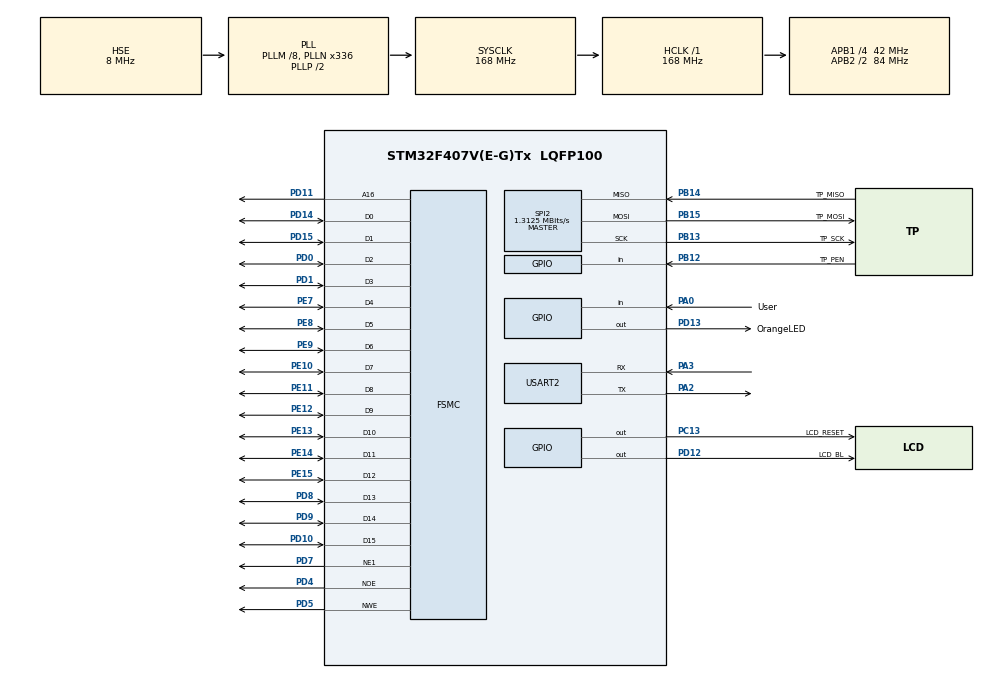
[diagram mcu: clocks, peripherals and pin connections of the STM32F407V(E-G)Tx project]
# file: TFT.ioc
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FSMC.AddressSetupTime1=15
FSMC.BusTurnAroundDuration1=15
FSMC.DataSetupTime1=30
FSMC.ExtendedAddressSetupTime1=5
FSMC.ExtendedBusTurnAroundDuration1=5
FSMC.ExtendedDataSetupTime1=5
FSMC.ExtendedMode1=FSMC_EXTENDED_MODE_ENABLE
Mcu.Family=STM32F4
Mcu.Name=STM32F407V(E-G)Tx
Mcu.Package=LQFP100
NVIC.PriorityGroup=NVIC_PRIORITYGROUP_4
NVIC.USART2_IRQn=true\:0\:0\:false\:false\:true\:true
PA0-WKUP.GPIO_Label=User
PA0-WKUP.Signal=GPIO_Input
PA2.Mode=Asynchronous
PA2.Signal=USART2_TX
PA3.Mode=Asynchronous
PA3.Signal=USART2_RX
PB12.GPIO_Label=TP_PEN
PB12.Signal=GPIO_Input
PB13.GPIO_Label=TP_SCK
PB13.GPIO_Speed=GPIO_SPEED_FREQ_HIGH
PB13.Mode=Full_Duplex_Master
PB13.Signal=SPI2_SCK
PB14.GPIO_Label=TP_MISO
PB14.GPIO_Speed=GPIO_SPEED_FREQ_HIGH
PB14.Mode=Full_Duplex_Master
PB14.Signal=SPI2_MISO
PB15.GPIO_Label=TP_MOSI
PB15.GPIO_Speed=GPIO_SPEED_FREQ_HIGH
PB15.Mode=Full_Duplex_Master
PB15.Signal=SPI2_MOSI
PC13-ANTI_TAMP.GPIO_Label=LCD_RESET
PC13-ANTI_TAMP.Signal=GPIO_Output
PC14-OSC32_IN.Mode=LSE-External-Oscillator
PC14-OSC32_IN.Signal=RCC_OSC32_IN
PC15-OSC32_OUT.Mode=LSE-External-Oscillator
PC15-OSC32_OUT.Signal=RCC_OSC32_OUT
PD0.GPIO_Speed_High_Default=GPIO_SPEED_FREQ_HIGH
PD0.Mode=16b-d1
PD0.Signal=FSMC_D2
PD1.GPIO_Speed_High_Default=GPIO_SPEED_FREQ_HIGH
PD1.Mode=16b-d1
PD1.Signal=FSMC_D3
PD10.GPIO_Speed_High_Default=GPIO_SPEED_FREQ_HIGH
PD10.Mode=16b-d1
PD10.Signal=FSMC_D15
PD11.GPIO_Speed_High_Default=GPIO_SPEED_FREQ_HIGH
PD11.Mode=A16_1
PD11.Signal=FSMC_A16
PD12.GPIO_Label=LCD_BL
PD12.Signal=GPIO_Output
PD13.GPIO_Label=OrangeLED
PD13.Signal=GPIO_Output
PD14.GPIO_Speed_High_Default=GPIO_SPEED_FREQ_HIGH
PD14.Mode=16b-d1
PD14.Signal=FSMC_D0
PD15.GPIO_Speed_High_Default=GPIO_SPEED_FREQ_HIGH
PD15.Mode=16b-d1
PD15.Signal=FSMC_D1
PD4.GPIO_Speed_High_Default=GPIO_SPEED_FREQ_HIGH
PD4.Mode=Lcd1
PD4.Signal=FSMC_NOE
PD5.GPIO_Speed_High_Default=GPIO_SPEED_FREQ_HIGH
PD5.Mode=Lcd1
PD5.Signal=FSMC_NWE
PD7.GPIO_Speed_High_Default=GPIO_SPEED_FREQ_HIGH
PD7.Mode=NorPsramChipSelect1_1
PD7.Signal=FSMC_NE1
PD8.GPIO_Speed_High_Default=GPIO_SPEED_FREQ_HIGH
PD8.Mode=16b-d1
PD8.Signal=FSMC_D13
PD9.GPIO_Speed_High_Default=GPIO_SPEED_FREQ_HIGH
PD9.Mode=16b-d1
PD9.Signal=FSMC_D14
PE10.GPIO_Speed_High_Default=GPIO_SPEED_FREQ_HIGH
PE10.Mode=16b-d1
PE10.Signal=FSMC_D7
PE11.GPIO_Speed_High_Default=GPIO_SPEED_FREQ_HIGH
PE11.Mode=16b-d1
PE11.Signal=FSMC_D8
PE12.GPIO_Speed_High_Default=GPIO_SPEED_FREQ_HIGH
PE12.Mode=16b-d1
PE12.Signal=FSMC_D9
PE13.GPIO_Speed_High_Default=GPIO_SPEED_FREQ_HIGH
PE13.Mode=16b-d1
PE13.Signal=FSMC_D10
PE14.GPIO_Speed_High_Default=GPIO_SPEED_FREQ_HIGH
PE14.Mode=16b-d1
PE14.Signal=FSMC_D11
PE15.GPIO_Speed_High_Default=GPIO_SPEED_FREQ_HIGH
PE15.Mode=16b-d1
PE15.Signal=FSMC_D12
PE7.GPIO_Speed_High_Default=GPIO_SPEED_FREQ_HIGH
PE7.Mode=16b-d1
PE7.Signal=FSMC_D4
PE8.GPIO_Speed_High_Default=GPIO_SPEED_FREQ_HIGH
PE8.Mode=16b-d1
PE8.Signal=FSMC_D5
PE9.GPIO_Speed_High_Default=GPIO_SPEED_FREQ_HIGH
PE9.Mode=16b-d1
PE9.Signal=FSMC_D6
PH0-OSC_IN.Mode=HSE-External-Oscillator
PH0-OSC_IN.Signal=RCC_OSC_IN
PH1-OSC_OUT.Mode=HSE-External-Oscillator
PH1-OSC_OUT.Signal=RCC_OSC_OUT
ProjectManager.HeapSize=0x400
ProjectManager.StackSize=0x200
ProjectManager.TargetToolchain=SW4STM32
RCC.48MHZClocksFreq_Value=48000000
RCC.AHBFreq_Value=168000000
RCC.APB1CLKDivider=RCC_HCLK_DIV4
RCC.APB1Freq_Value=42000000
RCC.APB1TimFreq_Value=84000000
RCC.APB2CLKDivider=RCC_HCLK_DIV2
RCC.APB2Freq_Value=84000000
RCC.APB2TimFreq_Value=168000000
RCC.CortexFreq_Value=168000000
RCC.HCLKFreq_Value=168000000
RCC.HSE_VALUE=8000000
RCC.HSI_VALUE=16000000
RCC.PLLM=8
RCC.PLLN=336
RCC.PLLQ=7
RCC.PLLSourceVirtual=RCC_PLLSOURCE_HSE
RCC.RCC_RTC_Clock_Source=RCC_RTCCLKSOURCE_LSE
RCC.RCC_RTC_Clock_SourceVirtual=RCC_RTCCLKSOURCE_LSE
RCC.SYSCLKFreq_VALUE=168000000
RCC.SYSCLKSource=RCC_SYSCLKSOURCE_PLLCLK
RCC.VCOOutputFreq_Value=336000000
SPI2.BaudRatePrescaler=SPI_BAUDRATEPRESCALER_32
SPI2.CLKPhase=SPI_PHASE_2EDGE
SPI2.CLKPolarity=SPI_POLARITY_HIGH
SPI2.CalculateBaudRate=1.3125 MBits/s
SPI2.Direction=SPI_DIRECTION_2LINES
SPI2.Mode=SPI_MODE_MASTER
SPI2.VirtualType=VM_MASTER
USART2.VirtualMode=VM_ASYNC
VP_CRC_VS_CRC.Mode=CRC_Activate
board=TFT2

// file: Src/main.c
/**
  ******************************************************************************
  * File Name          : main.c
  * Description        : Main program body
  ******************************************************************************
  *
  * COPYRIGHT(c) 2017 STMicroelectronics
  *
  * Redistribution and use in source and binary forms, with or without modification,
  * are permitted provided that the following conditions are met:
  *   1. Redistributions of source code must retain the above copyright notice,
  *      this list of conditions and the following disclaimer.
  *   2. Redistributions in binary form must reproduce the above copyright notice,
  *      this list of conditions and the following disclaimer in the documentation
  *      and/or other materials provided with the distribution.
  *   3. Neither the name of STMicroelectronics nor the names of its contributors
  *      may be used to endorse or promote products derived from this software
  *      without specific prior written permission.
  *
  * THIS SOFTWARE IS PROVIDED BY THE COPYRIGHT HOLDERS AND CONTRIBUTORS "AS IS"
  * AND ANY EXPRESS OR IMPLIED WARRANTIES, INCLUDING, BUT NOT LIMITED TO, THE
  * IMPLIED WARRANTIES OF MERCHANTABILITY AND FITNESS FOR A PARTICULAR PURPOSE ARE
  * DISCLAIMED. IN NO EVENT SHALL THE COPYRIGHT HOLDER OR CONTRIBUTORS BE LIABLE
  * FOR ANY DIRECT, INDIRECT, INCIDENTAL, SPECIAL, EXEMPLARY, OR CONSEQUENTIAL
  * DAMAGES (INCLUDING, BUT NOT LIMITED TO, PROCUREMENT OF SUBSTITUTE GOODS OR
  * SERVICES; LOSS OF USE, DATA, OR PROFITS; OR BUSINESS INTERRUPTION) HOWEVER
  * CAUSED AND ON ANY THEORY OF LIABILITY, WHETHER IN CONTRACT, STRICT LIABILITY,
  * OR TORT (INCLUDING NEGLIGENCE OR OTHERWISE) ARISING IN ANY WAY OUT OF THE USE
  * OF THIS SOFTWARE, EVEN IF ADVISED OF THE POSSIBILITY OF SUCH DAMAGE.
  *
  ******************************************************************************
  */
#include "main.h"
#include "stm32f4xx_hal.h"

/* USER CODE BEGIN Includes */
#include "LCD_STM32F4.h"
#include "GUI.h"
#include "DIALOG.h"
/* USER CODE END Includes */

CRC_HandleTypeDef hcrc;

SPI_HandleTypeDef hspi2;

UART_HandleTypeDef huart2;

SRAM_HandleTypeDef hsram1;

/* USER CODE BEGIN PV */
/* Private variables ---------------------------------------------------------*/
extern GUI_PID_STATE pstate;

/* USER CODE END PV */

void SystemClock_Config(void);
void Error_Handler(void);
static void MX_GPIO_Init(void);
static void MX_FSMC_Init(void);
static void MX_CRC_Init(void);
static void MX_SPI2_Init(void);
static void MX_USART2_UART_Init(void);

/* USER CODE BEGIN PFP */
/* Private function prototypes -----------------------------------------------*/

/* USER CODE END PFP */

int main(void)
{

  /* USER CODE BEGIN 1 */
	int count = 0;
	char countString[10];

	PROGBAR_Handle hProgbar;
	BUTTON_Handle hButton;

  /* USER CODE END 1 */

  /* MCU Configuration----------------------------------------------------------*/

  /* Reset of all peripherals, Initializes the Flash interface and the Systick. */
  HAL_Init();

  /* Configure the system clock */
  SystemClock_Config();

  /* Initialize all configured peripherals */
  MX_GPIO_Init();
  MX_FSMC_Init();
  MX_CRC_Init();
  MX_SPI2_Init();
  MX_USART2_UART_Init();

  HAL_GPIO_WritePin(LCD_BL_GPIO_Port, LCD_BL_Pin, GPIO_PIN_RESET);

  /* USER CODE BEGIN 2 */
	GUI_Init();

	GUI_SetFont(&GUI_Font8x16);
	GUI_SetBkColor(GUI_BLUE);
	GUI_Clear();

	GUI_SetColor(GUI_CYAN);			//foreground or text color
	GUI_DispString("ECET260 Test Program\tStemwin ver: ");

	GUI_DispString(GUI_GetVersionString());
	GUI_DispString("\n\n\n");

	GUI_SetFont(&GUI_Font32B_ASCII);
	GUI_SetColor(GUI_WHITE);		//foreground or text color

#ifdef ILI9481
	GUI_DispStringHCenterAt("ECET260", 240, 50);

	GUI_DrawGradientH(15, 220, 465, 300, 0x0000FF, 0x00FFFF);

	PROGBAR_SetDefaultSkin(PROGBAR_SKIN_FLEX); // Sets the default skin for new widgets

/* Create progress bar at location x = 10, y = 10, length = 219, height = 30 */
	hProgbar = PROGBAR_CreateEx(50, 235, 385, 50, 0, WM_CF_SHOW, 0, GUI_ID_PROGBAR0);

	// Create the button
	hButton = BUTTON_CreateEx(200, 120, 80, 60, 0, WM_CF_SHOW, 0, GUI_ID_BUTTON0);

	//display ID code for TFT
	uint16_t regTemp[6];

	GUI_SetFont(&GUI_Font16B_ASCII);
	GUI_SetColor(GUI_YELLOW);

	LcdWriteReg(0xbf);
	HAL_SRAM_Read_16b(&hsram1, LCD_CMD, &regTemp, 6);
	GUI_DispHexAt(regTemp[3], 10, 20, 2);
	GUI_DispHex(regTemp[4], 2);

#elif ILI9341
	GUI_DispStringHCenterAt("ECET260", 160, 50);

	GUI_DrawGradientH(5, 150, 315, 235, 0x0000FF, 0x00FFFF);

	/* Create progress bar at location x = 10, y = 10, length = 219, height = 30 */
	hProgbar = PROGBAR_CreateEx(50, 180, 219, 30, 0, WM_CF_SHOW, 0, GUI_ID_PROGBAR0);

	// Create the button
	hButton = BUTTON_CreateEx(120, 100, 80, 60, 0, WM_CF_SHOW, 0, GUI_ID_BUTTON0);

	//display ID code for TFT
	uint16_t regTemp[6];

	GUI_SetFont(&GUI_Font16B_ASCII);
	GUI_SetColor(GUI_YELLOW);

	LcdWriteReg(0xd3);
	HAL_SRAM_Read_16b(&hsram1, LCD_CMD, &regTemp, 4);
	GUI_DispHexAt(regTemp[2], 10, 20, 2);
	GUI_DispHex(regTemp[2], 2);

	GUI_Exec();

#elif SSD1963
	GUI_SetFont(&GUI_FontD60x80);

	GUI_DrawGradientH(15, 300, 785, 450, 0x0000FF, 0x00FFFF);

	/* Create progress bar at location x = 50, y = 325, length = 700, height = 100 */
	hProgbar = PROGBAR_CreateEx(50, 325, 700, 100, 0, WM_CF_SHOW, 0, GUI_ID_PROGBAR0);

	// Create the button
	hButton = BUTTON_CreateEx(380, 200, 80, 60, 0, WM_CF_SHOW, 0, GUI_ID_BUTTON0);

	//display ID code for SSD1963 TFT
	uint16_t regTemp[6];

	GUI_SetFont(&GUI_Font16B_ASCII);
	GUI_SetColor(GUI_YELLOW);

	LcdWriteReg(0xa1);
	HAL_SRAM_Read_16b(&hsram1, LCD_CMD, &regTemp, 5);
	GUI_DispHexAt(regTemp[0], 10, 20, 2);	//0x01
	GUI_DispHex(regTemp[1], 2);				//0x57
	GUI_DispHex(regTemp[2], 2);				//0x61
	GUI_DispHex(regTemp[3], 2);				//0x01
	GUI_DispHex(regTemp[4], 2);				//0xff

#else //SSD1289
	GUI_DispStringHCenterAt("ECET260", 160, 50);

	GUI_DrawGradientH(5, 150, 315, 235, 0x0000FF, 0x00FFFF);

	/* Create progress bar at location x = 10, y = 10, length = 219, height = 30 */
	hProgbar = PROGBAR_CreateEx(50, 180, 219, 30, 0, WM_CF_SHOW, 0, GUI_ID_PROGBAR0);

	// Create the button
	hButton = BUTTON_CreateEx(120, 100, 80, 60, 0, WM_CF_SHOW, 0, GUI_ID_BUTTON0);

	//display ID code for TFT
	uint16_t regTemp[6];

	GUI_SetFont(&GUI_Font16B_ASCII);
	GUI_SetColor(GUI_YELLOW);

	LcdWriteReg(0x00);
	HAL_SRAM_Read_16b(&hsram1, LCD_CMD, regTemp, 1);
	GUI_DispHexAt(regTemp[0], 10, 20, 4);

#endif

	PROGBAR_SetDefaultSkin(PROGBAR_SKIN_FLEX); // Sets the default skin for new widgets

	/* Set progress bar font */
	PROGBAR_SetFont(hProgbar, &GUI_Font8x16);

	PROGBAR_SetMinMax(hProgbar, 0, 99);

	/* Set progress bar text */
	PROGBAR_SetText(hProgbar, "...");

	BUTTON_SetFont(hButton, &GUI_Font8x16);
	// Set the button text
	BUTTON_SetText(hButton, "Test");

	GUI_Exec();

  /* USER CODE END 2 */

  /* Infinite loop */
  /* USER CODE BEGIN WHILE */
  while (1)
  {

	  GUI_PID_GetCurrentState(&pstate);

	  GUI_SetFont(&GUI_Font8x16);

#ifdef ILI9481

		if (pstate.Pressed) {
			GUI_DispDecAt( pstate.x, 440,20,4);
			GUI_DispDecAt( pstate.y, 440,40,4);
			GUI_DispStringAt("-P-", 440,60);

		}
		else {
			GUI_DispDecAt( 0, 440,20,4);
			GUI_DispDecAt( 0, 440,40,4);
			GUI_DispStringAt("- -", 440,60);
		}

#elif SSD1963

		if (pstate.Pressed) {
			GUI_DispDecAt( pstate.x, 760,20,4);
			GUI_DispDecAt( pstate.y, 760,40,4);
			GUI_DispStringAt("-P-", 760,60);

		}
		else {
			GUI_DispDecAt( 0, 760,20,4);
			GUI_DispDecAt( 0, 760,40,4);
			GUI_DispStringAt("- -", 760,60);
		}

#else

	 		if (pstate.Pressed) {
	 			GUI_DispDecAt( pstate.x, 280,20,4);
	 			GUI_DispDecAt( pstate.y, 280,40,4);
	 			GUI_DispStringAt("-P-", 280,60);

	 		}
	 		else {
	 			GUI_DispDecAt( 0, 280,20,4);
	 			GUI_DispDecAt( 0, 280,40,4);
	 			GUI_DispStringAt("- -", 280,60);
	 		}
#endif
	 		if(BUTTON_IsPressed(hButton))
	 		{
	 			count++;
	 			count%=100;
	 			sprintf(countString, "%d", count);

	 			PROGBAR_SetValue(hProgbar, count);			//use dec value for bar position
	 		 	PROGBAR_SetText(hProgbar, countString); 	//use string for text on progress bar

	 		}

	 		GUI_Delay(50);
  /* USER CODE END WHILE */

  }

}

/** System Clock Configuration
*/
void SystemClock_Config(void)
{

  RCC_OscInitTypeDef RCC_OscInitStruct;
  RCC_ClkInitTypeDef RCC_ClkInitStruct;

    /**Configure the main internal regulator output voltage
    */
  __HAL_RCC_PWR_CLK_ENABLE();

  __HAL_PWR_VOLTAGESCALING_CONFIG(PWR_REGULATOR_VOLTAGE_SCALE1);

    /**Initializes the CPU, AHB and APB busses clocks
    */
  RCC_OscInitStruct.OscillatorType = RCC_OSCILLATORTYPE_HSE;
  RCC_OscInitStruct.HSEState = RCC_HSE_ON;
  RCC_OscInitStruct.PLL.PLLState = RCC_PLL_ON;
  RCC_OscInitStruct.PLL.PLLSource = RCC_PLLSOURCE_HSE;
  RCC_OscInitStruct.PLL.PLLM = 8;
  RCC_OscInitStruct.PLL.PLLN = 336;
  RCC_OscInitStruct.PLL.PLLP = RCC_PLLP_DIV2;
  RCC_OscInitStruct.PLL.PLLQ = 7;
  if (HAL_RCC_OscConfig(&RCC_OscInitStruct) != HAL_OK)
  {
    Error_Handler();
  }

    /**Initializes the CPU, AHB and APB busses clocks
    */
  RCC_ClkInitStruct.ClockType = RCC_CLOCKTYPE_HCLK|RCC_CLOCKTYPE_SYSCLK
                              |RCC_CLOCKTYPE_PCLK1|RCC_CLOCKTYPE_PCLK2;
  RCC_ClkInitStruct.SYSCLKSource = RCC_SYSCLKSOURCE_PLLCLK;
  RCC_ClkInitStruct.AHBCLKDivider = RCC_SYSCLK_DIV1;
  RCC_ClkInitStruct.APB1CLKDivider = RCC_HCLK_DIV4;
  RCC_ClkInitStruct.APB2CLKDivider = RCC_HCLK_DIV2;

  if (HAL_RCC_ClockConfig(&RCC_ClkInitStruct, FLASH_LATENCY_5) != HAL_OK)
  {
    Error_Handler();
  }

    /**Configure the Systick interrupt time
    */
  HAL_SYSTICK_Config(HAL_RCC_GetHCLKFreq()/1000);

    /**Configure the Systick
    */
  HAL_SYSTICK_CLKSourceConfig(SYSTICK_CLKSOURCE_HCLK);

  /* SysTick_IRQn interrupt configuration */
  HAL_NVIC_SetPriority(SysTick_IRQn, 0, 0);
}

/* CRC init function */
static void MX_CRC_Init(void)
{

  hcrc.Instance = CRC;
  if (HAL_CRC_Init(&hcrc) != HAL_OK)
  {
    Error_Handler();
  }

}

/* SPI2 init function */
static void MX_SPI2_Init(void)
{

  hspi2.Instance = SPI2;
  hspi2.Init.Mode = SPI_MODE_MASTER;
  hspi2.Init.Direction = SPI_DIRECTION_2LINES;
  hspi2.Init.DataSize = SPI_DATASIZE_8BIT;
  hspi2.Init.CLKPolarity = SPI_POLARITY_HIGH;
  hspi2.Init.CLKPhase = SPI_PHASE_2EDGE;
  hspi2.Init.NSS = SPI_NSS_SOFT;
  hspi2.Init.BaudRatePrescaler = SPI_BAUDRATEPRESCALER_32;
  hspi2.Init.FirstBit = SPI_FIRSTBIT_MSB;
  hspi2.Init.TIMode = SPI_TIMODE_DISABLE;
  hspi2.Init.CRCCalculation = SPI_CRCCALCULATION_DISABLE;
  hspi2.Init.CRCPolynomial = 10;
  if (HAL_SPI_Init(&hspi2) != HAL_OK)
  {
    Error_Handler();
  }

}

/* USART2 init function */
static void MX_USART2_UART_Init(void)
{

  huart2.Instance = USART2;
  huart2.Init.BaudRate = 115200;
  huart2.Init.WordLength = UART_WORDLENGTH_8B;
  huart2.Init.StopBits = UART_STOPBITS_1;
  huart2.Init.Parity = UART_PARITY_NONE;
  huart2.Init.Mode = UART_MODE_TX_RX;
  huart2.Init.HwFlowCtl = UART_HWCONTROL_NONE;
  huart2.Init.OverSampling = UART_OVERSAMPLING_16;
  if (HAL_UART_Init(&huart2) != HAL_OK)
  {
    Error_Handler();
  }

}

/** Configure pins as
        * Analog
        * Input
        * Output
        * EVENT_OUT
        * EXTI
*/
static void MX_GPIO_Init(void)
{

  GPIO_InitTypeDef GPIO_InitStruct;

  /* GPIO Ports Clock Enable */
  __HAL_RCC_GPIOC_CLK_ENABLE();
  __HAL_RCC_GPIOH_CLK_ENABLE();
  __HAL_RCC_GPIOA_CLK_ENABLE();
  __HAL_RCC_GPIOE_CLK_ENABLE();
  __HAL_RCC_GPIOB_CLK_ENABLE();
  __HAL_RCC_GPIOD_CLK_ENABLE();

  /*Configure GPIO pin Output Level */
  HAL_GPIO_WritePin(LCD_RESET_GPIO_Port, LCD_RESET_Pin, GPIO_PIN_RESET);

  /*Configure GPIO pin Output Level */
  HAL_GPIO_WritePin(GPIOD, LCD_BL_Pin|OrangeLED_Pin, GPIO_PIN_RESET);

  /*Configure GPIO pin : LCD_RESET_Pin */
  GPIO_InitStruct.Pin = LCD_RESET_Pin;
  GPIO_InitStruct.Mode = GPIO_MODE_OUTPUT_PP;
  GPIO_InitStruct.Pull = GPIO_NOPULL;
  GPIO_InitStruct.Speed = GPIO_SPEED_FREQ_LOW;
  HAL_GPIO_Init(LCD_RESET_GPIO_Port, &GPIO_InitStruct);

  /*Configure GPIO pin : User_Pin */
  GPIO_InitStruct.Pin = User_Pin;
  GPIO_InitStruct.Mode = GPIO_MODE_INPUT;
  GPIO_InitStruct.Pull = GPIO_NOPULL;
  HAL_GPIO_Init(User_GPIO_Port, &GPIO_InitStruct);

  /*Configure GPIO pin : TP_PEN_Pin */
  GPIO_InitStruct.Pin = TP_PEN_Pin;
  GPIO_InitStruct.Mode = GPIO_MODE_INPUT;
  GPIO_InitStruct.Pull = GPIO_NOPULL;
  HAL_GPIO_Init(TP_PEN_GPIO_Port, &GPIO_InitStruct);

  /*Configure GPIO pins : LCD_BL_Pin OrangeLED_Pin */
  GPIO_InitStruct.Pin = LCD_BL_Pin|OrangeLED_Pin;
  GPIO_InitStruct.Mode = GPIO_MODE_OUTPUT_PP;
  GPIO_InitStruct.Pull = GPIO_NOPULL;
  GPIO_InitStruct.Speed = GPIO_SPEED_FREQ_LOW;
  HAL_GPIO_Init(GPIOD, &GPIO_InitStruct);

}

/* FSMC initialization function */
static void MX_FSMC_Init(void)
{
  FSMC_NORSRAM_TimingTypeDef Timing;
  FSMC_NORSRAM_TimingTypeDef ExtTiming;

  /** Perform the SRAM1 memory initialization sequence
  */
  hsram1.Instance = FSMC_NORSRAM_DEVICE;
  hsram1.Extended = FSMC_NORSRAM_EXTENDED_DEVICE;
  /* hsram1.Init */
  hsram1.Init.NSBank = FSMC_NORSRAM_BANK1;
  hsram1.Init.DataAddressMux = FSMC_DATA_ADDRESS_MUX_DISABLE;
  hsram1.Init.MemoryType = FSMC_MEMORY_TYPE_SRAM;
  hsram1.Init.MemoryDataWidth = FSMC_NORSRAM_MEM_BUS_WIDTH_16;
  hsram1.Init.BurstAccessMode = FSMC_BURST_ACCESS_MODE_DISABLE;
  hsram1.Init.WaitSignalPolarity = FSMC_WAIT_SIGNAL_POLARITY_LOW;
  hsram1.Init.WrapMode = FSMC_WRAP_MODE_DISABLE;
  hsram1.Init.WaitSignalActive = FSMC_WAIT_TIMING_BEFORE_WS;
  hsram1.Init.WriteOperation = FSMC_WRITE_OPERATION_ENABLE;
  hsram1.Init.WaitSignal = FSMC_WAIT_SIGNAL_DISABLE;
  hsram1.Init.ExtendedMode = FSMC_EXTENDED_MODE_ENABLE;
  hsram1.Init.AsynchronousWait = FSMC_ASYNCHRONOUS_WAIT_DISABLE;
  hsram1.Init.WriteBurst = FSMC_WRITE_BURST_DISABLE;
  hsram1.Init.PageSize = FSMC_PAGE_SIZE_NONE;
  /* Timing */
  Timing.AddressSetupTime = 15;
  Timing.AddressHoldTime = 15;
  Timing.DataSetupTime = 30;
  Timing.BusTurnAroundDuration = 15;
  Timing.CLKDivision = 16;
  Timing.DataLatency = 17;
  Timing.AccessMode = FSMC_ACCESS_MODE_A;
  /* ExtTiming */
  ExtTiming.AddressSetupTime = 5;
  ExtTiming.AddressHoldTime = 15;
  ExtTiming.DataSetupTime = 5;
  ExtTiming.BusTurnAroundDuration = 5;
  ExtTiming.CLKDivision = 16;
  ExtTiming.DataLatency = 17;
  ExtTiming.AccessMode = FSMC_ACCESS_MODE_A;

  if (HAL_SRAM_Init(&hsram1, &Timing, &ExtTiming) != HAL_OK)
  {
    Error_Handler();
  }

}

void Error_Handler(void)
{
  while(1)
  {
  }
}

/************************ (C) COPYRIGHT STMicroelectronics *****END OF FILE****/
